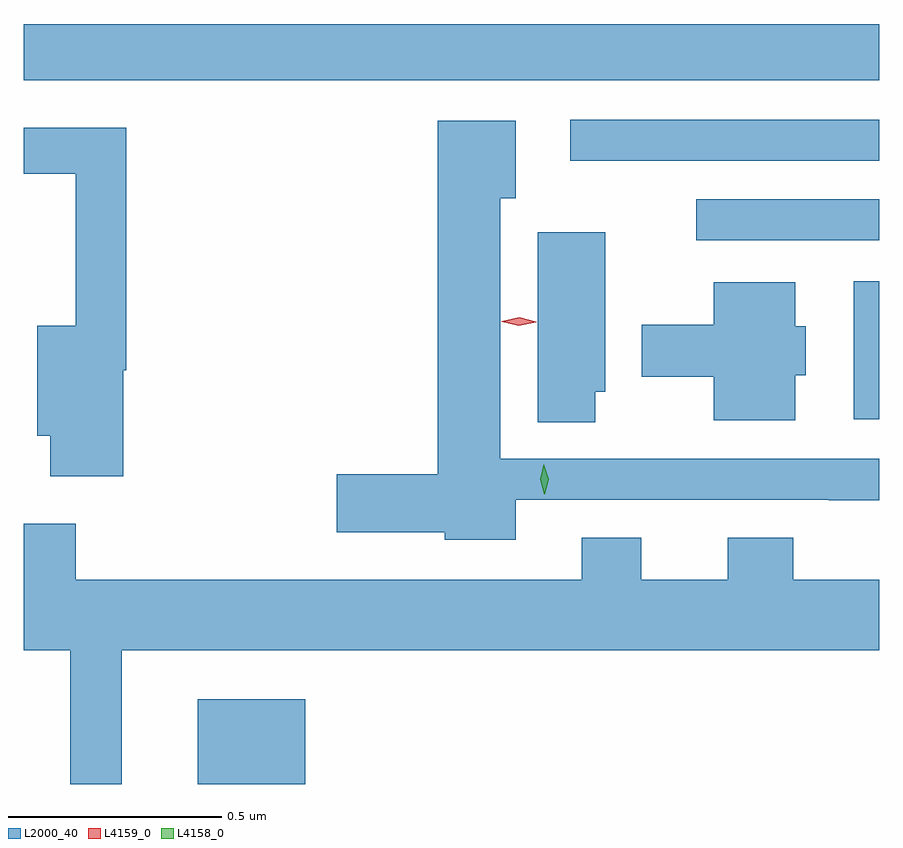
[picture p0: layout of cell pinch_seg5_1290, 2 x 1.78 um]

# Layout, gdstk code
import gdstk
lib = gdstk.Library(unit=1e-6, precision=1e-09)
def R(c, l, rs):  # rectangles x0, y0, x1, y1
    for r in rs: c.add(gdstk.rectangle(r[:2], r[2:], *l))
def P(c, l, *ps):  # polygons
    for p in ps: c.add(gdstk.Polygon(p, *l))
L2000_40 = (2000, 40)
L4158_0 = (4158, 0)
L4159_0 = (4159, 0)

pinch_seg5_1290 = lib.new_cell('pinch_seg5_1290')
R(pinch_seg5_1290, L2000_40, [(422.309,913.723,422.56,913.921), (423.842,914.576,423.902,914.899), (423.474,914.994,423.902,915.09), (423.18,915.18,423.902,915.276), (421.902,915.368,423.902,915.5)])
P(pinch_seg5_1290, L2000_40, [(423.052,914.388),(423.784,914.388),(423.784,914.387),(423.902,914.387),(423.902,914.484),(423.016,914.484),(423.016,915.092),(423.052,915.092),(423.052,915.274),(422.87,915.274),(422.87,914.447),(422.634,914.447),(422.634,914.312),(422.886,914.312),(422.886,914.294),(423.052,914.294)],
  [(422.135,914.69),(422.141,914.69),(422.141,915.258),(421.902,915.258),(421.902,915.15),(422.024,915.15),(422.024,914.794),(421.934,914.794),(421.934,914.537),(421.964,914.537),(421.964,914.442),(422.135,914.442)],
  [(423.238,914.64),(423.262,914.64),(423.262,915.013),(423.104,915.013),(423.104,914.569),(423.238,914.569)],
  [(423.706,914.679),(423.73,914.679),(423.73,914.793),(423.706,914.793),(423.706,914.896),(423.515,914.896),(423.515,914.797),(423.347,914.797),(423.347,914.675),(423.515,914.675),(423.515,914.573),(423.706,914.573)],
  [(422.131,914.036),(423.902,914.036),(423.902,914.2),(423.701,914.2),(423.701,914.299),(423.548,914.299),(423.548,914.2),(423.346,914.2),(423.346,914.299),(423.206,914.299),(423.206,914.2),(422.024,914.2),(422.024,914.332),(421.902,914.332),(421.902,914.036),(422.01,914.036),(422.01,913.723),(422.131,913.723)])
P(pinch_seg5_1290, L4158_0, [(423.119,914.4),(423.109,914.435),(423.118,914.471),(423.118,914.471),(423.118,914.471),(423.129,914.436),(423.12,914.4),(423.12,914.4)])
P(pinch_seg5_1290, L4159_0, [(423.059,914.794),(423.019,914.804),(423.019,914.804),(423.019,914.805),(423.06,914.814),(423.1,914.804),(423.1,914.803),(423.1,914.803)])

lib.write_gds('pinch_seg5_1290.gds')
